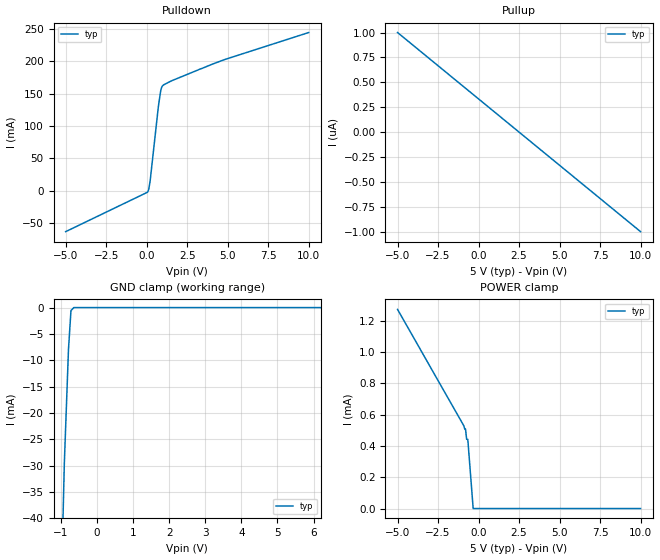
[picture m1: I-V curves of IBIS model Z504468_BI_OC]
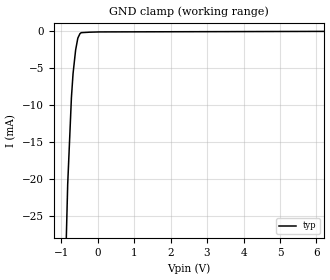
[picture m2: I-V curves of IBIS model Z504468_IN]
| YOU ARE ONLY AUTHORIZED TO USE THIS SOFTWARE
| ACCORDING TO LICENSOR'S LICENSE RESTRICTIONS.
[IBIS Ver] 3.1
[File Name] sn54ls642j.ibs
[File Rev] 2.0
[Source] Measured and created by ICX Technology
[Date] Friday 7/14/00 9:08:15 AM
[Copyright]
| (C) COPYRIGHT 1993-2000
| MENTOR GRAPHICS CORPORATION
| ICX STANDARD LIBRARY, ICX PROJECT MODELING,
| ICX CUSTOM MODELING, ICX VENDOR MODEL
| ALL RIGHTS RESERVED.
| THE FOLLOWING ARE TRADEMARKS OR SERVICE MARKS OF
| MENTOR GRAPHICS CORPORATION:ICX (R), ICX STANDARD
| LIBRARY(R), ICX PROJECT MODELING(R), ICX CUSTOM
| MODELING(R), qualityIBIS(TM), MODELVIEWER(TM),
| AND MODELEDITOR(TM)
| ALL COPIES OF SOFTWARE, INCLUDING BUT NOT LIMITED TO
| ANY MODIFICATIONS, ENHANCEMENTS OR DERIVATIVE WORKS,
| MUST CONTAIN ALL MENTOR GRAPHICS CORPORATION'S
| NOTICES AND LEGENDS, INCLUDING THOSE EMBEDDED IN
| SOFTWARE AND THOSE AFFIXED TO SOFTWARE MEDIUM
| AND CONTAINER, AS RECEIVED FROM MENTOR GRAPHICS
| CORPORATION.
|  ZAP Model Builder 2.7
[Component] SN54LS642J
[Manufacturer] OnSemiconductor
[Package]
| variable   typ   min   max
R_pkg  .216ohms NA NA
L_pkg  5.76nH NA NA
C_pkg  2.193pF NA NA
[Pin] signal_name  model_name  R_pin  L_pin C_pin
1 DIR Z504468_IN .232 9.76n 3.179p
2 A0 Z504468_BI_OC .224 7.26n 2.686p
3 A1 Z504468_BI_OC .216 5.26n 2.193p
4 A2 Z504468_BI_OC .208 3.76n 1.7p
5 A3 Z504468_BI_OC .2 2.76n 1.207p
6 A4 Z504468_BI_OC .2 2.76n 1.207p
7 A5 Z504468_BI_OC .208 3.76n 1.7p
8 A6 Z504468_BI_OC .216 5.26n 2.193p
9 A7 Z504468_BI_OC .224 7.26n 2.686p
10 GND GND .232 9.76n 3.179p
11 B7 Z504468_BI_OC .232 9.76n 3.179p
12 B6 Z504468_BI_OC .224 7.26n 2.686p
13 B5 Z504468_BI_OC .216 5.26n 2.193p
14 B4 Z504468_BI_OC .208 3.76n 1.7p
15 B3 Z504468_BI_OC .2 2.76n 1.207p
16 B2 Z504468_BI_OC .2 2.76n 1.207p
17 B1 Z504468_BI_OC .208 3.76n 1.7p
18 B0 Z504468_BI_OC .216 5.26n 2.193p
19 _G Z504468_IN .224 7.26n 2.686p
20 VCC POWER .232 9.76n 3.179p
| Models and submodels in the file (2): Z504468_BI_OC (I/O_open_sink), Z504468_IN (Input)
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| (C) COPYRIGHT 1993-2000
| MENTOR GRAPHICS CORPORATION
| ICX STANDARD LIBRARY, ICX PROJECT MODELING,
| ICX CUSTOM MODELING, ICX VENDOR MODEL
| ALL RIGHTS RESERVED.
| THE FOLLOWING ARE TRADEMARKS OR SERVICE MARKS OF
| MENTOR GRAPHICS CORPORATION:ICX (R), ICX STANDARD
| LIBRARY(R), ICX PROJECT MODELING(R), ICX CUSTOM
| MODELING(R), qualityIBIS(TM), MODELVIEWER(TM),
| AND MODELEDITOR(TM)
| ALL COPIES OF SOFTWARE, INCLUDING BUT NOT LIMITED TO
| ANY MODIFICATIONS, ENHANCEMENTS OR DERIVATIVE WORKS,
| MUST CONTAIN ALL MENTOR GRAPHICS CORPORATION'S
| NOTICES AND LEGENDS, INCLUDING THOSE EMBEDDED IN
| SOFTWARE AND THOSE AFFIXED TO SOFTWARE MEDIUM
| AND CONTAINER, AS RECEIVED FROM MENTOR GRAPHICS
| CORPORATION.
| Model Application Version 1.89 2/18/99.
[Model] Z504468_BI_OC
Model_type I/O_open_sink
Vinl=800.0mV
Vinh=2.000V
Vref=5.000V
Rref=667.0ohms
Cref=45.00pF
Vmeas=1.300V
C_comp 8.000pF NA NA
| variable typ   min   max
[Voltage Range] 5.000V NA NA
[POWER Clamp Reference] 5.000V NA NA
[Pullup Reference] 5.000V NA NA
[Pulldown Reference] 0.000V NA NA
[GND Clamp Reference] 0.000V NA NA
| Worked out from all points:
|   slope of the pulldown table from 0 to 0.75 V, typ, clamps not added: 5.44 ohm
|   GND clamp passes 1 mA (typ) near -0.72 V on its own axis
[GND Clamp]
-5V       -1.596A    NA         NA
-1.006V   -59.37mA   NA         NA
-901mV    -29.62mA   NA         NA
-786.1mV  -7.966mA   NA         NA
-717.6mV  -572.3uA   NA         NA
-637.9mV  0A         NA         NA
10V       0A         NA         NA
[Pulldown]
-5V       -63.2mA    NA         NA
69.62mV   -1.615mA   NA         NA
128.7mV   2.287mA    NA         NA
214.3mV   15.23mA    NA         NA
724mV     130.7mA    NA         NA
859.8mV   153.7mA    NA         NA
913.7mV   159.1mA    NA         NA
1.012V    163.1mA    NA         NA
1.579V    170.5mA    NA         NA
4.834V    203.1mA    NA         NA
10V       244.7mA    NA         NA
[Pullup]
-5V       1uA        NA         NA
10V       -1uA       NA         NA
[POWER Clamp]
-5V       1.273mA    NA         NA
-902mV    527.6uA    NA         NA
-853.5mV  508uA      NA         NA
-805mV    508uA      NA         NA
-734.5mV  442.5uA    NA         NA
-664mV    442.5uA    NA         NA
-332mV    0A         NA         NA
10V       0A         NA         NA
[Ramp]
| variable typ min max
dV/dt_r 2.861/17.21n NA NA
dV/dt_f 2.861/4.262n NA NA
R_load = 250.0Ohms
| (C) COPYRIGHT 1993-2000
| MENTOR GRAPHICS CORPORATION
| ICX STANDARD LIBRARY, ICX PROJECT MODELING,
| ICX CUSTOM MODELING, ICX VENDOR MODEL
| ALL RIGHTS RESERVED.
| THE FOLLOWING ARE TRADEMARKS OR SERVICE MARKS OF
| MENTOR GRAPHICS CORPORATION:ICX (R), ICX STANDARD
| LIBRARY(R), ICX PROJECT MODELING(R), ICX CUSTOM
| MODELING(R), qualityIBIS(TM), MODELVIEWER(TM),
| AND MODELEDITOR(TM)
| ALL COPIES OF SOFTWARE, INCLUDING BUT NOT LIMITED TO
| ANY MODIFICATIONS, ENHANCEMENTS OR DERIVATIVE WORKS,
| MUST CONTAIN ALL MENTOR GRAPHICS CORPORATION'S
| NOTICES AND LEGENDS, INCLUDING THOSE EMBEDDED IN
| SOFTWARE AND THOSE AFFIXED TO SOFTWARE MEDIUM
| AND CONTAINER, AS RECEIVED FROM MENTOR GRAPHICS
| CORPORATION.
| Model Application Version 1.89 2/18/99.
[Model] Z504468_IN
Model_type Input
Vinl = 800.0mV
Vinh = 2.000V
C_comp 4.000pF NA NA
| variable typ   min   max
[Voltage Range] 5.000V NA NA
[GND Clamp Reference] 0.000V NA NA
[POWER Clamp Reference] 5.000V NA NA
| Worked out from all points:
|   GND clamp passes 1 mA (typ) near -0.55 V on its own axis
[GND Clamp]
-5V       -816.9mA   NA         NA
-819.6mV  -20.64mA   NA         NA
-717.7mV  -8.938mA   NA         NA
-673mV    -5.701mA   NA         NA
-602.4mV  -2.504mA   NA         NA
-541.9mV  -897.3uA   NA         NA
-483.5mV  -294.2uA   NA         NA
-447.5mV  -159.6uA   NA         NA
-223.7mV  -96.46uA   NA         NA
48.87mV   -59.02uA   NA         NA
10V       55.48uA    NA         NA
[POWER Clamp]
-5V       0A         NA         NA
10V       0A         NA         NA
